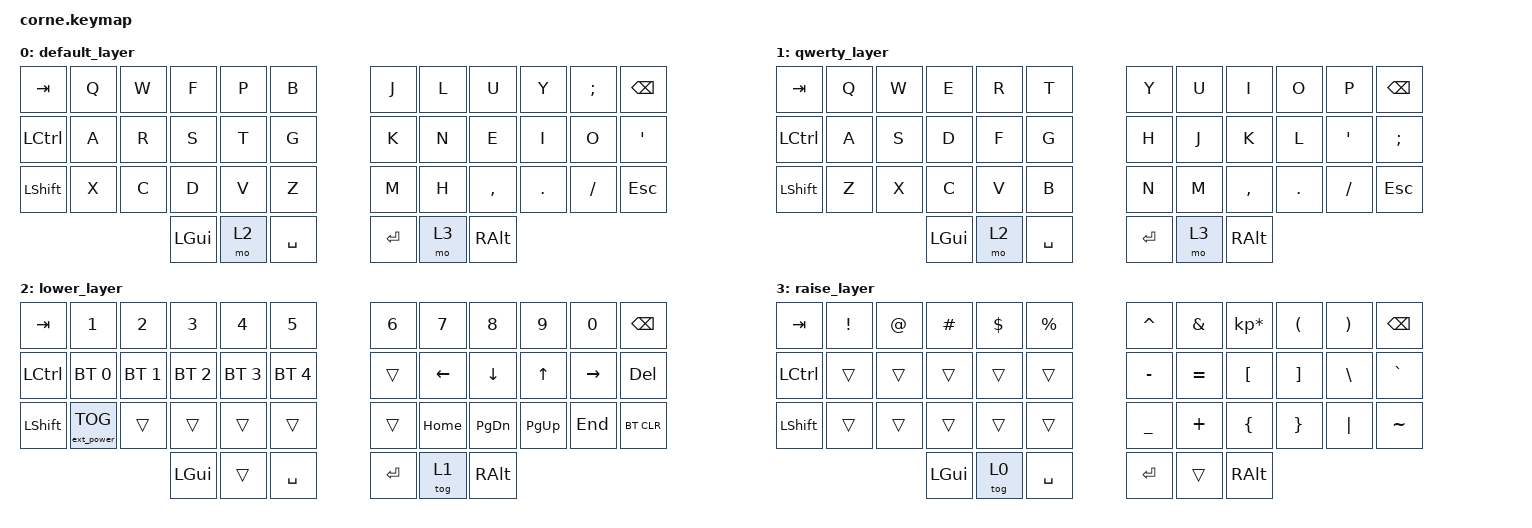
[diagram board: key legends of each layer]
/*
 * Copyright (c) 2020 The ZMK Contributors
 *
 * SPDX-License-Identifier: MIT
 */
 
#define DEFAULT 0
#define QWERTY  1
#define LOWER   2
#define RAISE   3

 

#include <behaviors.dtsi>
#include <dt-bindings/zmk/keys.h>
#include <dt-bindings/zmk/bt.h>
#include <dt-bindings/zmk/ext_power.h>

/ {
        keymap {
                compatible = "zmk,keymap";

                default_layer {
// -----------------------------------------------------------------------------------------
// |  TAB |  Q  |  W  |  F  |  P  |  B  |   |  J  |  L   |  U  |  Y  |  ;  | BKSP |
// | CTRL |  A  |  R  |  S  |  T  |  G  |   |  K  |  N   |  E  |  I  |  O  |  '   |
// | SHFT |  X  |  C  |  D  |  V  |  Z  |   |  M  |  H   |  ,  |  .  |  /  | ESC  |
//                    | GUI | LWR | SPC |   | ENT | RSE  | ALT |
                        bindings = <
   &kp TAB   &kp Q &kp W &kp F &kp P &kp B   &kp J &kp L  &kp U     &kp Y   &kp SEMI &kp BSPC
   &kp LCTRL &kp A &kp R &kp S &kp T &kp G   &kp K &kp N  &kp E     &kp I   &kp O    &kp SQT
   &kp LSHFT &kp X &kp C &kp D &kp V &kp Z   &kp M &kp H  &kp COMMA &kp DOT &kp FSLH &kp ESC
                  &kp LGUI &mo 2 &kp SPACE   &kp RET &mo 3 &kp RALT
                        >;
                };	
              qwerty_layer {
// -----------------------------------------------------------------------------------------
// |  TAB |  Q  |  W  |  E  |  R  |  T  |   |  Y  |  U  |  I  |  O  |  P  | BKSP |
// | CTRL |  A  |  S  |  D  |  F  |  G  |   |  H  |  J  |  K  |  L  |  '  |  ;   |
// | SHFT |  Z  |  X  |  C  |  V  |  B  |   |  N  |  M  |  ,  |  .  |  /  |  ESC |
//                    | GUI | LWR | SPC |   | ENT | RSE | ALT |
                        bindings = <
 &kp  TAB  &kp Q  &kp W &kp E  &kp R  &kp T       &kp Y  &kp U  &kp I      &kp O    &kp P    &kp BSPC
 &kp LCTRL &kp A  &kp S &kp D  &kp F  &kp G       &kp H  &kp J  &kp K      &kp L    &kp SQT  &kp SEMI
 &kp LSHFT &kp Z  &kp X &kp C  &kp V  &kp B       &kp N  &kp M  &kp COMMA  &kp DOT  &kp FSLH &kp ESC
                           &kp LGUI &mo 2   &kp SPACE   &kp RET   &mo 3    &kp RALT
                        >;
                };
                lower_layer {
// -----------------------------------------------------------------------------------------
// |  TAB |  1  |  2  |  3  |  4  |  5  |   |  6  |  7  |  8  |  9  |  0  | BKSP  |
// | CTRL | BT1 | BT2 | BT3 | BT4 | BT5 |   |     | LFT | DWN |  UP | RGT | DEL   |
// | SHFT |EPTOG|     |     |     |     |   |     | HOME| PGDN| PGUP| END | BT_CLR|
//                    | GUI |     | SPC |   | ENT |     | ALT |
                        bindings = <
   &kp TAB    &kp N1             &kp N2       &kp N3       &kp N4       &kp N5         &kp N6   &kp N7   &kp N8     &kp N9     &kp N0     &kp BSPC
   &kp LCTRL  &bt BT_SEL 0       &bt BT_SEL 1 &bt BT_SEL 2 &bt BT_SEL 3 &bt BT_SEL 4   &trans   &kp LEFT &kp DOWN   &kp UP     &kp RIGHT  &kp DEL
   &kp LSHFT  &ext_power EP_TOG  &trans       &trans       &trans       &trans         &trans   &kp HOME &kp PG_DN  &kp PG_UP  &kp END    &bt BT_CLR
                                    &kp LGUI     &trans       &kp SPACE      &kp RET   &tog 1   &kp RALT
                        >;
                };

                raise_layer {
// -----------------------------------------------------------------------------------------
// |  TAB |  !  |  @  |  #  |  $  |  %  |   |  ^  |  &  |  *  |  (  |  )  | BKSP |
// | CTRL |     |     |     |     |     |   |  -  |  =  |  [  |  ]  |  \  |  `   |
// | SHFT |     |     |     |     |     |   |  _  |  +  |  {  |  }  | "|" |  ~   |
//                    | GUI |     | SPC |   | ENT |     | ALT |
                        bindings = <
   &kp  TAB  &kp EXCL &kp AT &kp HASH &kp DLLR &kp PRCNT   &kp CARET &kp AMPS  &kp KP_MULTIPLY &kp LPAR &kp RPAR &kp BSPC
   &kp LCTRL &trans   &trans &trans   &trans   &trans      &kp MINUS &kp EQUAL &kp LBKT        &kp RBKT &kp BSLH &kp GRAVE
   &kp LSHFT &trans   &trans &trans   &trans   &trans      &kp UNDER &kp PLUS  &kp LBRC        &kp RBRC &kp PIPE &kp TILDE
                             &kp LGUI &tog 0   &kp SPACE   &kp RET   &trans    &kp RALT
                        >;
                };
				
        };
};
